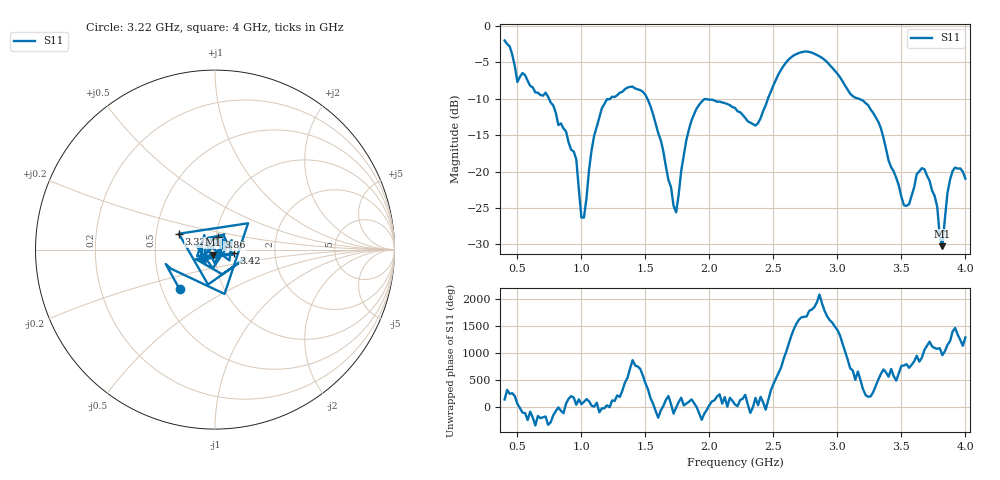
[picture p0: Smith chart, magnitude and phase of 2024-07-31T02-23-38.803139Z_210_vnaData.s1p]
!Created with skrf (http://scikit-rf.org).
# Hz S RI R 50.0
!freq ReS11 ImS11
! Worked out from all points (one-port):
!   181 points, 400 MHz to 4 GHz, reference 50 ohm
!   lowest |S11| = -30.2 dB at 3.82 GHz (marker M1), VSWR 1.06, Z = 48.7 - j2.72 ohm
!   |S11| at or under -10 dB: 747.2 MHz to 1.224 GHz (476.5 MHz wide, 48.4 % of centre); 1.515 GHz to 2.457 GHz (941.6 MHz wide, 47.4 % of centre); 3.168 GHz to end of sweep
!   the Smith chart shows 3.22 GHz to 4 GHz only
!   S11 on the Smith chart (normalised r, x): 3.22 GHz: 0.62, -0.30; 3.32 GHz: 0.66, +0.12; 3.42 GHz: 1.24, -0.05; 3.86 GHz: 1.03, +0.14; 4 GHz: 0.86, -0.08
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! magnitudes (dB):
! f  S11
! 400 MHz  -2.0
! 500 MHz  -7.7
! 720 MHz  -9.2
! 860 MHz  -14.1
! 960 MHz  -18.3
! 1 GHz  -26.3
! 1.02 GHz  -26.3
! 1.08 GHz  -17.0
! 1.16 GHz  -11.3
! 1.3 GHz  -9.2
! 1.5 GHz  -9.4
! 1.72 GHz  -24.7
! 1.76 GHz  -23.2
! 1.82 GHz  -15.7
! 1.9 GHz  -11.3
! 2.2 GHz  -11.2
! 2.36 GHz  -13.7
! 2.66 GHz  -4.0
! 3.1 GHz  -9.3
! 3.22 GHz  -10.6
! 3.32 GHz  -13.2
! 3.42 GHz  -19.4
! 3.56 GHz  -24.5
! 3.68 GHz  -19.7
! 3.82 GHz  -30.2
! 3.86 GHz  -22.9
! 3.92 GHz  -19.4
! 4 GHz  -21.0
